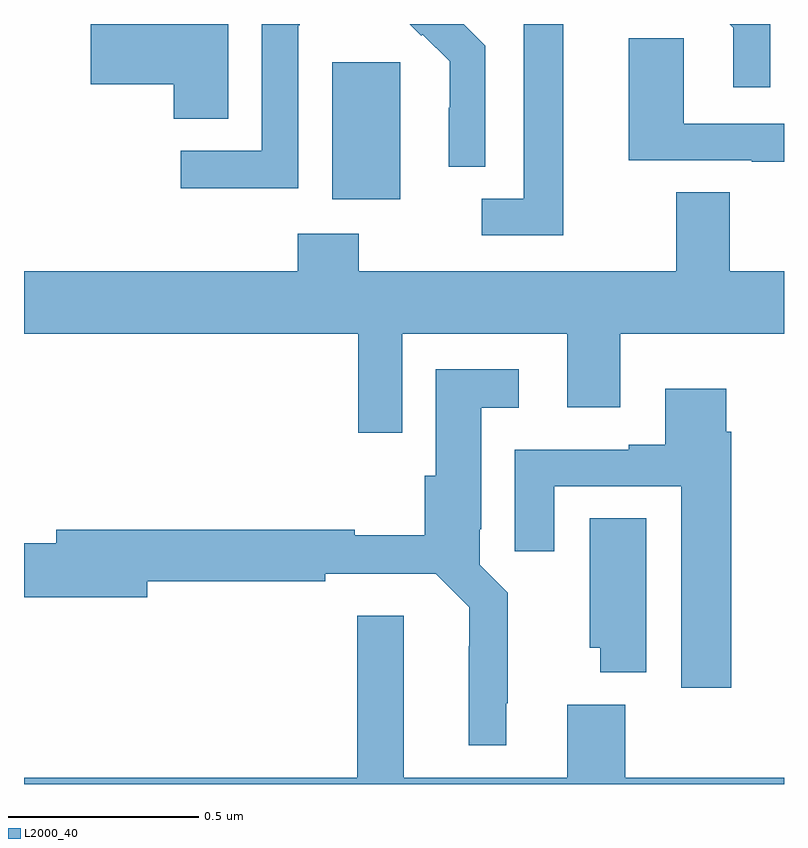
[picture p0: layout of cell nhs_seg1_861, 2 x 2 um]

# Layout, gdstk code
import gdstk
lib = gdstk.Library(unit=1e-6, precision=1e-09)
def R(c, l, rs):  # rectangles x0, y0, x1, y1
    for r in rs: c.add(gdstk.rectangle(r[:2], r[2:], *l))
def P(c, l, *ps):  # polygons
    for p in ps: c.add(gdstk.Polygon(p, *l))
L2000_40 = (2000, 40)

nhs_seg1_861 = lib.new_cell('nhs_seg1_861')
R(nhs_seg1_861, L2000_40, [(121.811,566.738,121.99,567.099)])
P(nhs_seg1_861, L2000_40, [(122.214,567.142),(122.157,567.199),(122.015,567.199),(122.046,567.168),(122.049,567.171),(122.12,567.101),(122.12,566.978),(122.118,566.978),(122.118,566.824),(122.214,566.824)],
  [(121.722,567.196),(121.725,567.196),(121.725,567.199),(121.626,567.199),(121.626,566.865),(121.413,566.865),(121.413,566.767),(121.722,566.767)],
  [(121.537,567.199),(121.176,567.199),(121.176,567.041),(121.394,567.041),(121.394,566.95),(121.537,566.95)],
  [(122.964,567.199),(122.857,567.199),(122.867,567.189),(122.867,567.033),(122.964,567.033)],
  [(122.419,567.199),(122.315,567.199),(122.315,566.739),(122.205,566.739),(122.205,566.643),(122.419,566.643)],
  [(123,566.937),(122.736,566.937),(122.736,567.161),(122.591,567.161),(122.591,566.841),(122.915,566.841),(122.915,566.837),(123,566.837)],
  [(121.995,566.384),(122.429,566.384),(122.429,566.19),(122.569,566.19),(122.569,566.384),(123,566.384),(123,566.548),(122.857,566.548),(122.857,566.756),(122.717,566.756),(122.717,566.548),(121.881,566.548),(121.881,566.647),(121.721,566.647),(121.721,566.548),(121,566.548),(121,566.384),(121.879,566.384),(121.879,566.124),(121.995,566.124)],
  [(122.269,565.411),(122.273,565.411),(122.273,565.702),(122.199,565.776),(122.199,565.87),(122.203,565.87),(122.203,566.189),(122.302,566.189),(122.302,566.29),(122.084,566.29),(122.084,566.01),(122.054,566.01),(122.054,565.853),(121.87,565.853),(121.87,565.868),(121.085,565.868),(121.085,565.832),(121,565.832),(121,565.69),(121.324,565.69),(121.324,565.732),(121.793,565.732),(121.793,565.752),(122.084,565.752),(122.172,565.664),(122.172,565.562),(122.171,565.562),(122.171,565.301),(122.269,565.301)],
  [(122.861,566.126),(122.848,566.126),(122.848,566.239),(122.687,566.239),(122.687,566.092),(122.591,566.092),(122.591,566.079),(122.291,566.079),(122.291,565.812),(122.395,565.812),(122.395,565.983),(122.729,565.983),(122.729,565.452),(122.861,565.452)],
  [(122.638,565.898),(122.489,565.898),(122.489,565.557),(122.516,565.557),(122.516,565.493),(122.638,565.493)],
  [(123,565.216),(122.582,565.216),(122.582,565.408),(122.429,565.408),(122.429,565.216),(121.999,565.216),(121.999,565.642),(121.877,565.642),(121.877,565.216),(121,565.216),(121,565.199),(123,565.199)])

lib.write_gds('nhs_seg1_861.gds')
